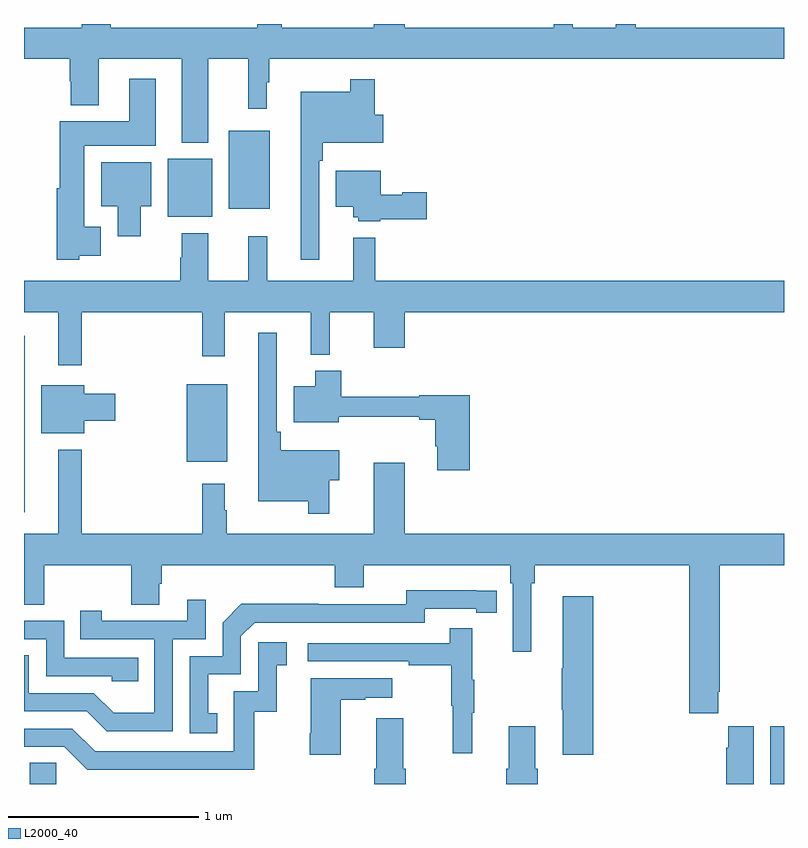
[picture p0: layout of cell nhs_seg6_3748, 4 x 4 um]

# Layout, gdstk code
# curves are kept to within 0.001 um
import gdstk
lib = gdstk.Library(unit=1e-6, precision=1e-09)
def R(c, l, rs):  # rectangles x0, y0, x1, y1
    for r in rs: c.add(gdstk.rectangle(r[:2], r[2:], *l))
def P(c, l, *ps):  # polygons
    for p in ps: c.add(gdstk.Polygon(p, *l))
L2000_40 = (2000, 40)

nhs_seg6_3748 = lib.new_cell('nhs_seg6_3748')
R(nhs_seg6_3748, L2000_40, [(331.031,963.5,331.17,963.611), (334.928,963.5,335,963.805), (331,964.931,331.003,965.86), (331.856,965.195,332.071,965.605), (331.757,966.485,331.99,966.79), (332.078,966.527,332.293,966.937)])
P(nhs_seg6_3748, L2000_40, [(331.969,967.316),(332.18,967.316),(332.18,967.053),(332.278,967.053),(332.278,967.193),(332.29,967.193),(332.29,967.316),(335,967.316),(335,967.48),(334.219,967.48),(334.219,967.5),(334.115,967.5),(334.115,967.48),(333.888,967.48),(333.888,967.5),(333.788,967.5),(333.788,967.48),(333.004,967.48),(333.004,967.5),(332.84,967.5),(332.84,967.48),(332.357,967.48),(332.357,967.5),(332.228,967.5),(332.228,967.48),(331.456,967.48),(331.456,967.5),(331.304,967.5),(331.304,967.48),(331,967.48),(331,967.316),(331.241,967.316),(331.241,967.2),(331.246,967.2),(331.246,967.073),(331.393,967.073),(331.393,967.316),(331.829,967.316),(331.829,966.875),(331.969,966.875)],
  [(331.29,966.281),(331.405,966.281),(331.405,966.433),(331.318,966.433),(331.318,966.86),(331.693,966.86),(331.693,967.213),(331.553,967.213),(331.553,966.988),(331.189,966.988),(331.189,966.636),(331.172,966.636),(331.172,966.26),(331.29,966.26)],
  [(332.553,966.779),(332.573,966.779),(332.573,966.875),(332.89,966.875),(332.89,967.023),(332.846,967.023),(332.846,967.21),(332.718,967.21),(332.718,967.144),(332.456,967.144),(332.456,966.258),(332.553,966.258)],
  [(331.615,966.542),(331.669,966.542),(331.669,966.772),(331.406,966.772),(331.406,966.542),(331.493,966.542),(331.493,966.384),(331.615,966.384)],
  [(332.874,966.472),(333.121,966.472),(333.121,966.614),(332.991,966.614),(332.991,966.601),(332.878,966.601),(332.878,966.727),(332.642,966.727),(332.642,966.539),(332.732,966.539),(332.732,966.483),(332.76,966.483),(332.76,966.461),(332.874,966.461)],
  [(331.303,965.984),(331.939,965.984),(331.939,965.751),(332.057,965.751),(332.057,965.984),(332.51,965.984),(332.51,965.759),(332.61,965.759),(332.61,965.984),(332.84,965.984),(332.84,965.796),(333.004,965.796),(333.004,965.984),(335,965.984),(335,966.148),(332.849,966.148),(332.849,966.376),(332.732,966.376),(332.732,966.148),(332.279,966.148),(332.279,966.382),(332.18,966.382),(332.18,966.148),(331.969,966.148),(331.969,966.4),(331.829,966.4),(331.829,966.269),(331.822,966.269),(331.822,966.148),(331,966.148),(331,965.984),(331.181,965.984),(331.181,965.703),(331.303,965.703)],
  [(332.607,965.099),(332.659,965.099),(332.659,965.257),(332.351,965.257),(332.351,965.353),(332.331,965.353),(332.331,965.875),(332.234,965.875),(332.234,964.988),(332.496,964.988),(332.496,964.923),(332.607,964.923)],
  [(333.347,965.545),(333.08,965.545),(333.08,965.537),(332.669,965.537),(332.669,965.674),(332.534,965.674),(332.534,965.593),(332.42,965.593),(332.42,965.405),(332.656,965.405),(332.656,965.434),(333.08,965.434),(333.08,965.416),(333.164,965.416),(333.164,965.278),(333.176,965.278),(333.176,965.151),(333.347,965.151)],
  [(331.318,965.411),(331.48,965.411),(331.48,965.553),(331.318,965.553),(331.318,965.599),(331.091,965.599),(331.091,965.345),(331.318,965.345)],
  [(334.655,963.985),(334.662,963.985),(334.662,964.652),(335,964.652),(335,964.816),(333.004,964.816),(333.004,965.191),(332.84,965.191),(332.84,964.816),(332.068,964.816),(332.068,964.94),(332.056,964.94),(332.056,965.08),(331.939,965.08),(331.939,964.816),(331.303,964.816),(331.303,965.26),(331.181,965.26),(331.181,964.816),(331,964.816),(331,964.444),(331.107,964.444),(331.107,964.652),(331.564,964.652),(331.564,964.444),(331.711,964.444),(331.711,964.554),(331.724,964.554),(331.724,964.652),(332.636,964.652),(332.636,964.535),(332.788,964.535),(332.788,964.652),(333.56,964.652),(333.56,964.556),(333.573,964.556),(333.573,964.197),(333.67,964.197),(333.67,964.556),(333.689,964.556),(333.689,964.652),(334.502,964.652),(334.502,963.873),(334.655,963.873)],
  [(332.018,963.873),(331.969,963.873),(331.969,964.077),(332.142,964.077),(332.142,964.278),(332.214,964.35),(333.108,964.35),(333.108,964.422),(333.38,964.422),(333.38,964.402),(333.488,964.402),(333.488,964.518),(333.012,964.519),(333.012,964.446),(332.552,964.446),(332.552,964.448),(332.144,964.448),(332.046,964.35),(332.046,964.173),(331.872,964.173),(331.872,963.768),(332.018,963.768)],
  [(333.995,964.489),(333.836,964.489),(333.836,964.109),(333.829,964.109),(333.829,963.892),(333.836,963.892),(333.836,963.654),(333.995,963.654)],
  [(331.782,964.263),(331.956,964.263),(331.956,964.471),(331.859,964.471),(331.859,964.359),(331.408,964.359),(331.408,964.411),(331.297,964.411),(331.297,964.263),(331.686,964.263),(331.686,963.874),(331.472,963.874),(331.368,963.978),(331.026,963.978),(331.026,964.177),(331,964.177),(331,963.882),(331.331,963.882),(331.436,963.777),(331.782,963.777)],
  [(331.601,964.164),(331.212,964.164),(331.212,964.359),(331,964.359),(331,964.263),(331.116,964.263),(331.116,964.068),(331.461,964.068),(331.461,964.041),(331.601,964.041)],
  [(333.359,963.875),(333.37,963.875),(333.37,964.049),(333.359,964.049),(333.359,964.321),(333.241,964.321),(333.241,964.242),(332.493,964.242),(332.493,964.146),(333.025,964.146),(333.025,964.126),(333.249,964.126),(333.249,963.912),(333.256,963.912),(333.256,963.663),(333.359,963.663)],
  [(332.212,963.879),(332.33,963.879),(332.33,964.125),(332.383,964.125),(332.383,964.246),(332.232,964.246),(332.232,963.987),(332.103,963.987),(332.103,963.672),(331.374,963.672),(331.254,963.792),(331,963.792),(331,963.696),(331.212,963.696),(331.332,963.576),(332.212,963.576)],
  [(332.668,963.943),(332.795,963.943),(332.795,963.953),(332.938,963.953),(332.938,964.057),(332.51,964.057),(332.51,963.766),(332.503,963.766),(332.503,963.654),(332.668,963.654)],
  [(333.008,963.58),(332.995,963.58),(332.995,963.847),(332.855,963.847),(332.855,963.58),(332.843,963.58),(332.843,963.5),(333.008,963.5)],
  [(334.84,963.805),(334.706,963.805),(334.706,963.692),(334.697,963.692),(334.697,963.5),(334.84,963.5)],
  [(333.704,963.58),(333.691,963.58),(333.691,963.805),(333.551,963.805),(333.551,963.58),(333.539,963.58),(333.539,963.5),(333.704,963.5)])

lib.write_gds('nhs_seg6_3748.gds')
